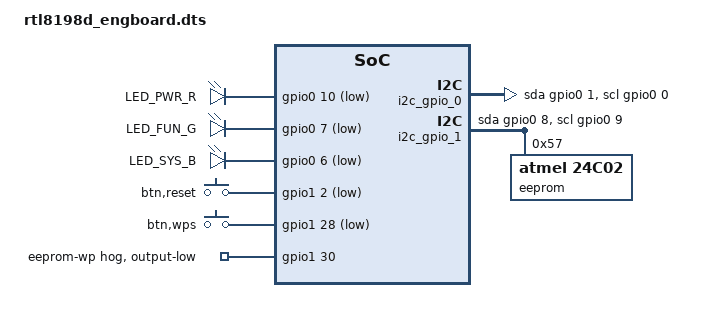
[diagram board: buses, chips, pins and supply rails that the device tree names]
/*
 * Realtek Semiconductor Corp.
 *
 * Device Tree Structure
 *
 * Tony Wu (tonywu@realtek.com)
 */

/dts-v1/;

#include "rtl8198d_soc.dtsi"
#include <dt-bindings/gpio/gpio.h>
#include <dt-bindings/input/input.h>

/ {
	compatible = "BPI-RT2";
	#address-cells = <1>;
	#size-cells = <1>;
	
	leds {
		compatible = "gpio-leds";
		led_pwr_r {
			label = "LED_PWR_R";
			gpios = <&gpio0 10 GPIO_ACTIVE_LOW>;  //gpio10
			default-state = "on";
		};
		led_fun_g {
			label = "LED_FUN_G";
			gpios = <&gpio0 7 GPIO_ACTIVE_LOW>;  //gpio7
			default-state = "off";
		};
		led_sys_b {
			label = "LED_SYS_B";
			gpios = <&gpio0 6 GPIO_ACTIVE_LOW>;  //gpio6
			default-state = "off";
		};
	};

	gpio-keys {
		compatible = "gpio-keys";
                autorepeat;

		btn_reset {
			label = "btn,reset";
			linux,code = <KEY_RESTART>;
			gpios = <&gpio1 2 GPIO_ACTIVE_LOW>;  //gpio60
		};
		
		btn_wps {
			label = "btn,wps";
			linux,code = <KEY_WPS_BUTTON>;
			gpios = <&gpio1 28 GPIO_ACTIVE_LOW>;  //gpio34
		};
	};
	
	board_setting {
		pci0_gpio_rst = <&gpio1 8 GPIO_ACTIVE_HIGH>;
		pci1_gpio_rst = <&gpio1 7 GPIO_ACTIVE_HIGH>;
	};
	
	i2c_gpio_0: i2c-gpio-0 {
		compatible = "i2c-gpio";
		sda-gpios = <&gpio0 1 GPIO_ACTIVE_HIGH>;
		scl-gpios = <&gpio0 0 GPIO_ACTIVE_HIGH>;
		i2c-gpio,delay-us = <2>;
		#address-cells = <1>;
		#size-cells = <0>;
	};

	i2c_gpio_1: i2c-gpio-1 {
   		compatible = "i2c-gpio";
   		sda-gpios = <&gpio0 8 GPIO_ACTIVE_HIGH>;
   		scl-gpios = <&gpio0 9 GPIO_ACTIVE_HIGH>;
   		i2c-gpio,delay-us = <5>;
    	#address-cells = <1>;
    	#size-cells = <0>;

  		status = "okay";
    	eeprom@57 {
        	compatible = "atmel,24c02";
        	reg = <0x57>;
        	pagesize = <8>;
    	};
	};
	
};

&gpio1 {
    eeprom_wp_disable {
    	gpio-hog;
    	gpios = <30 GPIO_ACTIVE_HIGH>;
    	output-low;
    	line-name = "eeprom-wp";
	};
};

&gic {
	timer {
		compatible = "mti,gic-timer";
		interrupts = <GIC_LOCAL 1 IRQ_TYPE_NONE>;
		clocks = <&apro_soc_clk 0>;
		clock-frequency = <900000000>;
	};
};

&uart0 {
	interrupt-parent = <&gic>;
	interrupts = <GIC_SHARED GIC_EXT_UART0 IRQ_TYPE_LEVEL_HIGH>;
};

/*
&uart1 {
	interrupt-parent = <&gic>;
	interrupts = <GIC_SHARED GIC_EXT_UART1 IRQ_TYPE_LEVEL_HIGH>;
};

&uart2 {
	interrupt-parent = <&gic>;
	interrupts = <GIC_SHARED GIC_EXT_UART2 IRQ_TYPE_LEVEL_HIGH>;
};
*/

/* FIXME Disable for early development
&eth0 {
	interrupt-parent = <&gic>;
	interrupts = <GIC_SHARED 9 IRQ_TYPE_LEVEL_HIGH>;
};

&gmac {
	interrupt-parent = <&gic>;
	interrupts = <GIC_SHARED 9 IRQ_TYPE_LEVEL_HIGH>;
};

&usb {
	interrupt-parent = <&gic>;
	interrupts = <GIC_SHARED 8 IRQ_TYPE_LEVEL_HIGH>;
};

&hdmi0 {
	interrupt-parent = <&gic>;
	interrupts = <GIC_SHARED 13 IRQ_TYPE_LEVEL_HIGH>;
};
*/
